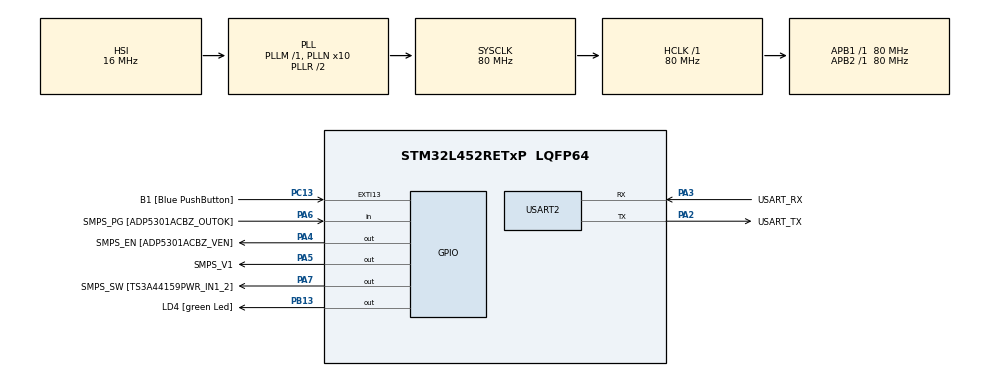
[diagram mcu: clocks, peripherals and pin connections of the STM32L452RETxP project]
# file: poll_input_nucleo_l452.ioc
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Mcu.Family=STM32L4
Mcu.Name=STM32L452RETxP
Mcu.Package=LQFP64
NVIC.PriorityGroup=NVIC_PRIORITYGROUP_4
PA13\ (JTMS/SWDIO).GPIO_Label=TMS
PA13\ (JTMS/SWDIO).Mode=Serial_Wire
PA13\ (JTMS/SWDIO).Signal=SYS_JTMS-SWDIO
PA14\ (JTCK/SWCLK).GPIO_Label=TCK
PA14\ (JTCK/SWCLK).Mode=Serial_Wire
PA14\ (JTCK/SWCLK).Signal=SYS_JTCK-SWCLK
PA2.GPIO_Label=USART_TX
PA2.GPIO_Mode=GPIO_MODE_AF_PP
PA2.GPIO_PuPd=GPIO_NOPULL
PA2.GPIO_Speed=GPIO_SPEED_FREQ_VERY_HIGH
PA2.Mode=Asynchronous
PA2.Signal=USART2_TX
PA3.GPIO_Label=USART_RX
PA3.GPIO_Mode=GPIO_MODE_AF_PP
PA3.GPIO_PuPd=GPIO_NOPULL
PA3.GPIO_Speed=GPIO_SPEED_FREQ_VERY_HIGH
PA3.Mode=Asynchronous
PA3.Signal=USART2_RX
PA4.GPIO_Label=SMPS_EN [ADP5301ACBZ_VEN]
PA4.Signal=GPIO_Output
PA5.GPIO_Label=SMPS_V1
PA5.GPIO_ModeDefaultOutputPP=GPIO_MODE_OUTPUT_PP
PA5.GPIO_PuPd=GPIO_NOPULL
PA5.GPIO_Speed=GPIO_SPEED_FREQ_LOW
PA5.Signal=GPIO_Output
PA6.GPIO_Label=SMPS_PG [ADP5301ACBZ_OUTOK]
PA6.GPIO_PuPd=GPIO_PULLUP
PA6.Signal=GPIO_Input
PA7.GPIO_Label=SMPS_SW [TS3A44159PWR_IN1_2]
PA7.Signal=GPIO_Output
PB13.GPIO_Label=LD4 [green Led]
PB13.Signal=GPIO_Output
PB3\ (JTDO/TRACESWO).GPIO_Label=SWO
PB3\ (JTDO/TRACESWO).Signal=SYS_JTDO-SWO
PC13.GPIO_Label=B1 [Blue PushButton]
PC13.GPIO_ModeDefaultEXTI=GPIO_MODE_IT_FALLING
PC13.GPIO_PuPd=GPIO_NOPULL
PC13.Signal=GPXTI13
PC14-OSC32_IN\ (PC14).Mode=LSE-External-Oscillator
PC14-OSC32_IN\ (PC14).Signal=RCC_OSC32_IN
PC15-OSC32_OUT\ (PC15).Mode=LSE-External-Oscillator
PC15-OSC32_OUT\ (PC15).Signal=RCC_OSC32_OUT
PH0-OSC_IN\ (PH0).GPIO_Label=MCO
PH0-OSC_IN\ (PH0).Mode=HSE-External-Clock-Source
PH0-OSC_IN\ (PH0).Signal=RCC_OSC_IN
PH1-OSC_OUT\ (PH1).Signal=RCC_OSC_OUT
ProjectManager.HeapSize=0x200
ProjectManager.StackSize=0x400
ProjectManager.TargetToolchain=STM32CubeIDE
RCC.ADCFreq_Value=64000000
RCC.AHBFreq_Value=80000000
RCC.APB1Freq_Value=80000000
RCC.APB1TimFreq_Value=80000000
RCC.APB2Freq_Value=80000000
RCC.APB2TimFreq_Value=80000000
RCC.CortexFreq_Value=80000000
RCC.HCLKFreq_Value=80000000
RCC.HSE_VALUE=8000000
RCC.HSI48_VALUE=48000000
RCC.HSI_VALUE=16000000
RCC.MSI_VALUE=4000000
RCC.PLLN=10
RCC.PLLSourceVirtual=RCC_PLLSOURCE_HSI
RCC.PREFETCH_ENABLE=1
RCC.SYSCLKFreq_VALUE=80000000
RCC.SYSCLKSource=RCC_SYSCLKSOURCE_PLLCLK
RCC.USBFreq_Value=64000000
RCC.VCOOutputFreq_Value=160000000
USART2.VirtualMode-Asynchronous=VM_ASYNC
board=NUCLEO-L452RE-P

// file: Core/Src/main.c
/* USER CODE BEGIN Header */
/**
  ******************************************************************************
  * @file           : main.c
  * @brief          : Main program body
  ******************************************************************************
  * @attention
  *
  * Copyright (c) 2021 STMicroelectronics.
  * All rights reserved.
  *
  * This software is licensed under terms that can be found in the LICENSE file
  * in the root directory of this software component.
  * If no LICENSE file comes with this software, it is provided AS-IS.
  *
  ******************************************************************************
  */
/* USER CODE END Header */
#include "main.h"

/* USER CODE BEGIN Includes */
#include "stm32l4xx_nucleo.h"
#include "systick_timer.h"
/* USER CODE END Includes */

UART_HandleTypeDef huart2;

void SystemClock_Config(void);
static void MX_GPIO_Init(void);
static void MX_USART2_UART_Init(void);

/* USER CODE BEGIN 0 */
SYSTick_Timer_t  timer_1 , timer_2;
/* USER CODE END 0 */

int main(void)
{

  /* MCU Configuration--------------------------------------------------------*/

  /* Reset of all peripherals, Initializes the Flash interface and the Systick. */
  HAL_Init();

  /* Configure the system clock */
  SystemClock_Config();

  /* Initialize all configured peripherals */
  MX_GPIO_Init();
  MX_USART2_UART_Init();
  /* USER CODE BEGIN 2 */
  BSP_LED_Init(LED2);
  BSP_PB_Init(BUTTON_USER, BUTTON_MODE_GPIO);
  start_systick_timer(&timer_1, 100);
  start_systick_timer(&timer_2, 100);
  /* USER CODE END 2 */

  /* Infinite loop */
  while (1)
  {

    /* USER CODE BEGIN 3 */
	if(0 == BSP_PB_GetState(BUTTON_USER))
	{ // BUTTON_USER pressed
	  if(Timer_Expired == get_systick_timer(&timer_1))
	  {
	    BSP_LED_Toggle(LED2);
	    start_systick_timer(&timer_1, 100);
	  }
	  start_systick_timer(&timer_2, 700);
	}
	else
	{ // BUTTON_USER released
	  if(Timer_Expired == get_systick_timer(&timer_2))
	  {
	    BSP_LED_Toggle(LED2);
	    start_systick_timer(&timer_2, 700);
	  }
	  start_systick_timer(&timer_1, 100);
    }
  }
  /* USER CODE END 3 */
}

void SystemClock_Config(void)
{
  RCC_OscInitTypeDef RCC_OscInitStruct = {0};
  RCC_ClkInitTypeDef RCC_ClkInitStruct = {0};

  /** Configure the main internal regulator output voltage
  */
  if (HAL_PWREx_ControlVoltageScaling(PWR_REGULATOR_VOLTAGE_SCALE1) != HAL_OK)
  {
    Error_Handler();
  }
  /** Initializes the RCC Oscillators according to the specified parameters
  * in the RCC_OscInitTypeDef structure.
  */
  RCC_OscInitStruct.OscillatorType = RCC_OSCILLATORTYPE_HSI;
  RCC_OscInitStruct.HSIState = RCC_HSI_ON;
  RCC_OscInitStruct.HSICalibrationValue = RCC_HSICALIBRATION_DEFAULT;
  RCC_OscInitStruct.PLL.PLLState = RCC_PLL_ON;
  RCC_OscInitStruct.PLL.PLLSource = RCC_PLLSOURCE_HSI;
  RCC_OscInitStruct.PLL.PLLM = 1;
  RCC_OscInitStruct.PLL.PLLN = 10;
  RCC_OscInitStruct.PLL.PLLP = RCC_PLLP_DIV7;
  RCC_OscInitStruct.PLL.PLLQ = RCC_PLLQ_DIV2;
  RCC_OscInitStruct.PLL.PLLR = RCC_PLLR_DIV2;
  if (HAL_RCC_OscConfig(&RCC_OscInitStruct) != HAL_OK)
  {
    Error_Handler();
  }
  /** Initializes the CPU, AHB and APB buses clocks
  */
  RCC_ClkInitStruct.ClockType = RCC_CLOCKTYPE_HCLK|RCC_CLOCKTYPE_SYSCLK
                              |RCC_CLOCKTYPE_PCLK1|RCC_CLOCKTYPE_PCLK2;
  RCC_ClkInitStruct.SYSCLKSource = RCC_SYSCLKSOURCE_PLLCLK;
  RCC_ClkInitStruct.AHBCLKDivider = RCC_SYSCLK_DIV1;
  RCC_ClkInitStruct.APB1CLKDivider = RCC_HCLK_DIV1;
  RCC_ClkInitStruct.APB2CLKDivider = RCC_HCLK_DIV1;

  if (HAL_RCC_ClockConfig(&RCC_ClkInitStruct, FLASH_LATENCY_4) != HAL_OK)
  {
    Error_Handler();
  }
}

static void MX_USART2_UART_Init(void)
{

  huart2.Instance = USART2;
  huart2.Init.BaudRate = 115200;
  huart2.Init.WordLength = UART_WORDLENGTH_8B;
  huart2.Init.StopBits = UART_STOPBITS_1;
  huart2.Init.Parity = UART_PARITY_NONE;
  huart2.Init.Mode = UART_MODE_TX_RX;
  huart2.Init.HwFlowCtl = UART_HWCONTROL_NONE;
  huart2.Init.OverSampling = UART_OVERSAMPLING_16;
  huart2.Init.OneBitSampling = UART_ONE_BIT_SAMPLE_DISABLE;
  huart2.AdvancedInit.AdvFeatureInit = UART_ADVFEATURE_NO_INIT;
  if (HAL_UART_Init(&huart2) != HAL_OK)
  {
    Error_Handler();
  }

}

static void MX_GPIO_Init(void)
{
  GPIO_InitTypeDef GPIO_InitStruct = {0};

  /* GPIO Ports Clock Enable */
  __HAL_RCC_GPIOC_CLK_ENABLE();
  __HAL_RCC_GPIOH_CLK_ENABLE();
  __HAL_RCC_GPIOA_CLK_ENABLE();
  __HAL_RCC_GPIOB_CLK_ENABLE();

  /*Configure GPIO pin Output Level */
  HAL_GPIO_WritePin(GPIOA, SMPS_EN_Pin|SMPS_V1_Pin|SMPS_SW_Pin, GPIO_PIN_RESET);

  /*Configure GPIO pin Output Level */
  HAL_GPIO_WritePin(LD4_GPIO_Port, LD4_Pin, GPIO_PIN_RESET);

  /*Configure GPIO pin : B1_Pin */
  GPIO_InitStruct.Pin = B1_Pin;
  GPIO_InitStruct.Mode = GPIO_MODE_IT_FALLING;
  GPIO_InitStruct.Pull = GPIO_NOPULL;
  HAL_GPIO_Init(B1_GPIO_Port, &GPIO_InitStruct);

  /*Configure GPIO pins : SMPS_EN_Pin SMPS_V1_Pin SMPS_SW_Pin */
  GPIO_InitStruct.Pin = SMPS_EN_Pin|SMPS_V1_Pin|SMPS_SW_Pin;
  GPIO_InitStruct.Mode = GPIO_MODE_OUTPUT_PP;
  GPIO_InitStruct.Pull = GPIO_NOPULL;
  GPIO_InitStruct.Speed = GPIO_SPEED_FREQ_LOW;
  HAL_GPIO_Init(GPIOA, &GPIO_InitStruct);

  /*Configure GPIO pin : SMPS_PG_Pin */
  GPIO_InitStruct.Pin = SMPS_PG_Pin;
  GPIO_InitStruct.Mode = GPIO_MODE_INPUT;
  GPIO_InitStruct.Pull = GPIO_PULLUP;
  HAL_GPIO_Init(SMPS_PG_GPIO_Port, &GPIO_InitStruct);

  /*Configure GPIO pin : LD4_Pin */
  GPIO_InitStruct.Pin = LD4_Pin;
  GPIO_InitStruct.Mode = GPIO_MODE_OUTPUT_PP;
  GPIO_InitStruct.Pull = GPIO_NOPULL;
  GPIO_InitStruct.Speed = GPIO_SPEED_FREQ_LOW;
  HAL_GPIO_Init(LD4_GPIO_Port, &GPIO_InitStruct);

}

void Error_Handler(void)
{
  __disable_irq();
  while (1)
  {
  }
}
